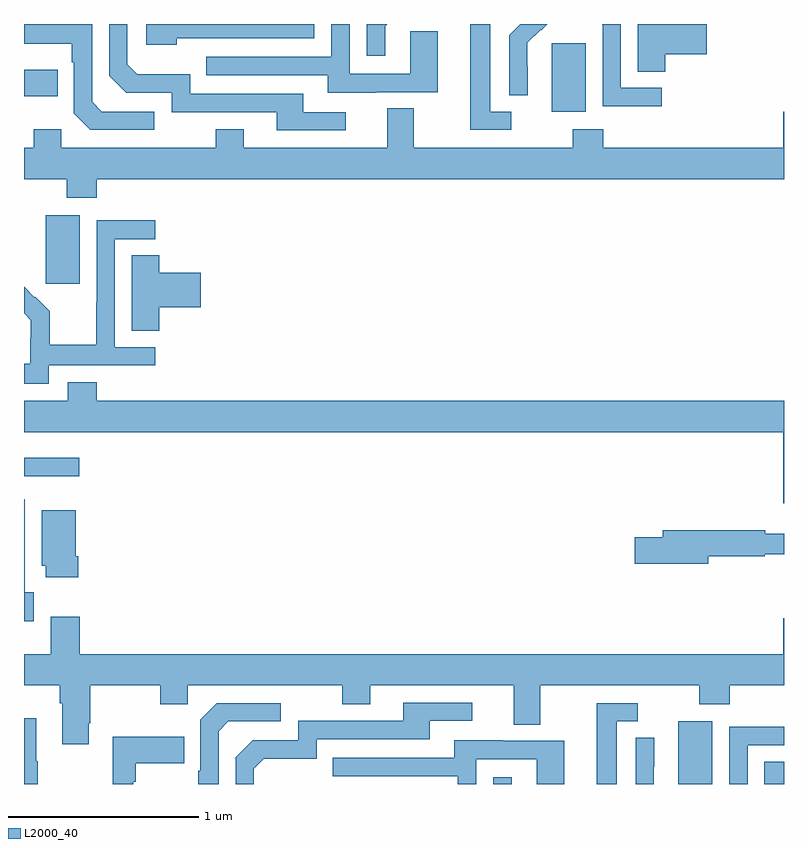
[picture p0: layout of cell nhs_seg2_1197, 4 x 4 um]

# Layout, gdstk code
import gdstk
lib = gdstk.Library(unit=1e-6, precision=1e-09)
def R(c, l, rs):  # rectangles x0, y0, x1, y1
    for r in rs: c.add(gdstk.rectangle(r[:2], r[2:], *l))
def P(c, l, *ps):  # polygons
    for p in ps: c.add(gdstk.Polygon(p, *l))
L2000_40 = (2000, 40)

nhs_seg2_1197 = lib.new_cell('nhs_seg2_1197')
R(nhs_seg2_1197, L2000_40, [(175.47,629.8,175.567,629.836), (176.444,629.8,176.623,630.13), (176.897,629.8,177,629.918), (173,631.419,173.29,631.516), (173.114,632.433,173.293,632.794), (175.778,633.338,175.957,633.699), (173,633.419,173.177,633.559)])
P(nhs_seg2_1197, L2000_40, [(176.375,633.641),(176.593,633.641),(176.593,633.8),(176.231,633.8),(176.231,633.55),(176.375,633.55)],
  [(174.694,633.336),(174.469,633.336),(174.469,633.432),(173.874,633.432),(173.874,633.535),(173.597,633.535),(173.544,633.588),(173.544,633.8),(173.448,633.8),(173.448,633.528),(173.538,633.438),(173.778,633.438),(173.778,633.336),(174.329,633.336),(174.329,633.24),(174.694,633.24)],
  [(173.686,633.339),(173.409,633.339),(173.358,633.39),(173.358,633.8),(173,633.8),(173,633.695),(173.25,633.695),(173.25,633.599),(173.262,633.599),(173.262,633.33),(173.349,633.243),(173.686,633.243)],
  [(175.564,633.339),(175.453,633.339),(175.453,633.8),(175.349,633.8),(175.349,633.243),(175.564,633.243)],
  [(174.901,633.789),(174.912,633.8),(174.804,633.8),(174.804,633.633),(174.901,633.633)],
  [(173.804,633.726),(174.528,633.726),(174.528,633.8),(173.643,633.8),(173.643,633.692),(173.804,633.692)],
  [(175.65,633.578),(175.649,633.578),(175.649,633.701),(175.719,633.771),(175.722,633.768),(175.754,633.8),(175.612,633.8),(175.554,633.742),(175.554,633.424),(175.65,633.424)],
  [(176.356,633.465),(176.142,633.465),(176.142,633.8),(176.044,633.8),(176.044,633.796),(176.046,633.796),(176.046,633.367),(176.356,633.367)],
  [(174.853,633.441),(175.177,633.441),(175.177,633.761),(175.032,633.761),(175.032,633.537),(174.714,633.537),(174.714,633.8),(174.618,633.8),(174.618,633.627),(173.959,633.627),(173.959,633.531),(174.599,633.531),(174.599,633.437),(174.853,633.437)],
  [(173.384,632.984),(177,632.984),(177,633.337),(176.996,633.337),(176.996,633.148),(176.048,633.148),(176.048,633.247),(175.888,633.247),(175.888,633.148),(175.051,633.148),(175.051,633.356),(174.911,633.356),(174.911,633.148),(174.157,633.148),(174.157,633.247),(174.01,633.247),(174.01,633.148),(173.196,633.148),(173.196,633.247),(173.05,633.247),(173.05,633.148),(173,633.148),(173,632.984),(173.224,632.984),(173.224,632.885),(173.384,632.885)],
  [(173.13,632.004),(173.692,632.004),(173.692,632.1),(173.478,632.1),(173.478,632.667),(173.692,632.667),(173.692,632.766),(173.382,632.766),(173.382,632.336),(173.38,632.336),(173.38,632.113),(173.135,632.113),(173.135,632.287),(173.058,632.364),(173.055,632.361),(173,632.417),(173,632.278),(173.036,632.242),(173.036,632.145),(173.034,632.145),(173.034,632.011),(173,632.011),(173,631.907),(173.13,631.907)],
  [(173.711,632.309),(173.929,632.309),(173.929,632.492),(173.711,632.492),(173.711,632.582),(173.567,632.582),(173.567,632.185),(173.711,632.185)],
  [(177,631.816),(173.384,631.816),(173.384,631.915),(173.231,631.915),(173.231,631.816),(173,631.816),(173,631.652),(176.996,631.652),(176.996,631.278),(177,631.278)],
  [(173.05,630.81),(173.005,630.81),(173.005,631.3),(173,631.3),(173,630.656),(173.05,630.656)],
  [(173.285,631),(173.272,631),(173.272,631.24),(173.093,631.24),(173.093,630.948),(173.114,630.948),(173.114,630.888),(173.285,630.888)],
  [(176.602,631),(176.898,631),(176.898,631.008),(177,631.008),(177,631.117),(176.9,631.117),(176.9,631.136),(176.363,631.136),(176.363,631.1),(176.214,631.1),(176.214,630.958),(176.602,630.958)],
  [(173.341,630.121),(173.349,630.121),(173.349,630.32),(173.716,630.32),(173.716,630.221),(173.862,630.221),(173.862,630.32),(174.676,630.32),(174.676,630.221),(174.823,630.221),(174.823,630.32),(175.577,630.32),(175.577,630.112),(175.717,630.112),(175.717,630.32),(176.554,630.32),(176.554,630.221),(176.714,630.221),(176.714,630.32),(177,630.32),(177,630.673),(176.996,630.673),(176.996,630.484),(173.294,630.484),(173.294,630.679),(173.141,630.679),(173.141,630.484),(173,630.484),(173,630.32),(173.189,630.32),(173.189,630.224),(173.201,630.224),(173.201,630.009),(173.341,630.009)],
  [(174.21,629.88),(174.263,629.933),(174.54,629.933),(174.54,630.036),(175.135,630.036),(175.135,630.132),(175.36,630.132),(175.36,630.228),(174.995,630.228),(174.995,630.132),(174.444,630.132),(174.444,630.03),(174.204,630.03),(174.114,629.94),(174.114,629.8),(174.21,629.8)],
  [(176.119,630.129),(176.23,630.129),(176.23,630.225),(176.015,630.225),(176.015,629.8),(176.119,629.8)],
  [(174.024,630.078),(174.075,630.129),(174.352,630.129),(174.352,630.225),(174.015,630.225),(173.928,630.138),(173.928,629.869),(173.916,629.869),(173.916,629.8),(174.024,629.8)],
  [(173.073,629.921),(173.065,629.921),(173.065,630.145),(173,630.145),(173,629.8),(173.073,629.8)],
  [(176.808,630.003),(177,630.003),(177,630.102),(176.712,630.102),(176.712,629.8),(176.808,629.8)],
  [(173.574,629.813),(173.587,629.813),(173.587,629.909),(173.843,629.909),(173.843,630.049),(173.466,630.049),(173.466,629.8),(173.574,629.8)],
  [(176.315,629.89),(176.316,629.89),(176.316,630.044),(176.22,630.044),(176.22,629.8),(176.315,629.8)],
  [(175.38,629.931),(175.698,629.931),(175.698,629.8),(175.843,629.8),(175.843,630.027),(175.519,630.027),(175.519,630.031),(175.265,630.031),(175.265,629.937),(174.625,629.937),(174.625,629.841),(175.284,629.841),(175.284,629.8),(175.38,629.8)])

lib.write_gds('nhs_seg2_1197.gds')
